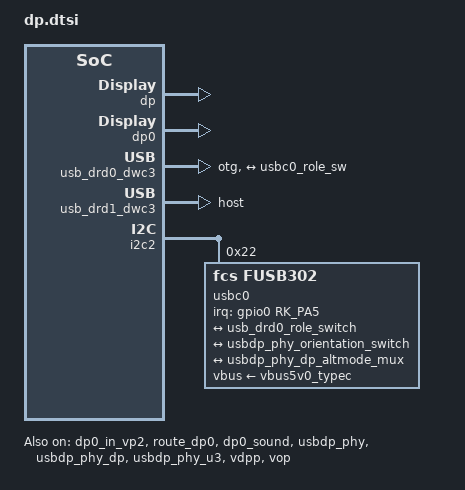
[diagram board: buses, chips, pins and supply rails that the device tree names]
&dp {
	status = "okay";
	svid = <0xff01>;
};

&dp0 {
	status = "okay";
};

&dp0_in_vp2 {
	status = "okay";
};

&route_dp0 {
    status = "okay";
    connect = <&vp2_out_dp0>;
};

&dp0_sound {
	status = "okay";
};

// USB DP (typec) 物理接口配置
&usbdp_phy {
	status = "okay";
	orientation-switch;
	svid = <0xff01>;
	sbu1-dc-gpios = <&gpio2 RK_PA6 GPIO_ACTIVE_HIGH>;
	sbu2-dc-gpios = <&gpio2 RK_PA7 GPIO_ACTIVE_HIGH>; 

	port {
		#address-cells = <1>;
		#size-cells = <0>;

		usbdp_phy_orientation_switch: endpoint@0 {
			reg = <0>;
			remote-endpoint = <&usbc0_orien_sw>;
		};

		usbdp_phy_dp_altmode_mux: endpoint@1 {
			reg = <1>;
			remote-endpoint = <&dp_altmode_mux>;
		};
	};
};

// USB DP物理接口配置
&usbdp_phy_dp {
	status = "okay";
};

// USB DP物理接口USB3配置
&usbdp_phy_u3 {
	status = "okay";
};

// USB DRD端口0 DWC3控制器配置
&usb_drd0_dwc3 {
	status = "okay";
	dr_mode = "otg";
	usb-role-switch;
	port {
		usb_drd0_role_switch: endpoint {
			remote-endpoint = <&usbc0_role_sw>;
		};
	};
};

// USB DRD端口1 DWC3控制器配置
&usb_drd1_dwc3 {
	dr_mode = "host";
	status = "okay";
};

&vdpp {
	status = "okay";
};

&vop {
	status = "okay";
	vop-supply = <&vdd_logic_s0>;
};

&vop_mmu {
	status = "okay";
};

&vp2 {
	assigned-clocks = <&cru DCLK_VP2_SRC>;
	assigned-clock-parents = <&cru PLL_VPLL>;
};

&i2c2 {
	status = "okay";
	pinctrl-names = "default";
	pinctrl-0 = <&i2c2m0_xfer>;
	
	usbc0: fusb302@22 {
		compatible = "fcs,fusb302";
		reg = <0x22>;
		interrupt-parent = <&gpio0>;
		interrupts = <RK_PA5 IRQ_TYPE_LEVEL_LOW>;
		pinctrl-names = "default";
		pinctrl-0 = <&usbc0_int>;
		vbus-supply = <&vbus5v0_typec>;
		status = "okay";

		port {
			usbc0_role_sw: endpoint {
				remote-endpoint = <&usb_drd0_role_switch>;
			};
		};

		usb_con: connector {
			compatible = "usb-c-connector";
			label = "USB-C";
			data-role = "dual";
			power-role = "dual";
			try-power-role = "sink";
			op-sink-microwatt = <1000000>;
			sink-pdos =
				<PDO_FIXED(5000, 1000, PDO_FIXED_USB_COMM)>;
			source-pdos =
				<PDO_FIXED(5000, 3000, PDO_FIXED_USB_COMM)>;
			mode-switch = <&dp>;

			altmodes {
				#address-cells = <1>;
				#size-cells = <0>;

				altmode@0 {
					reg = <0>;
					svid = <0xff01>;
					vdo = <0xffffffff>;
				};
			};

			ports {
				#address-cells = <1>;
				#size-cells = <0>;

				port@0 {
					reg = <0>;
					usbc0_orien_sw: endpoint {
						remote-endpoint = <&usbdp_phy_orientation_switch>;
					};
				};

				port@1 {
					reg = <1>;
					dp_altmode_mux: endpoint {
						remote-endpoint = <&usbdp_phy_dp_altmode_mux>;
					};
				};
			};
		};
	};
};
